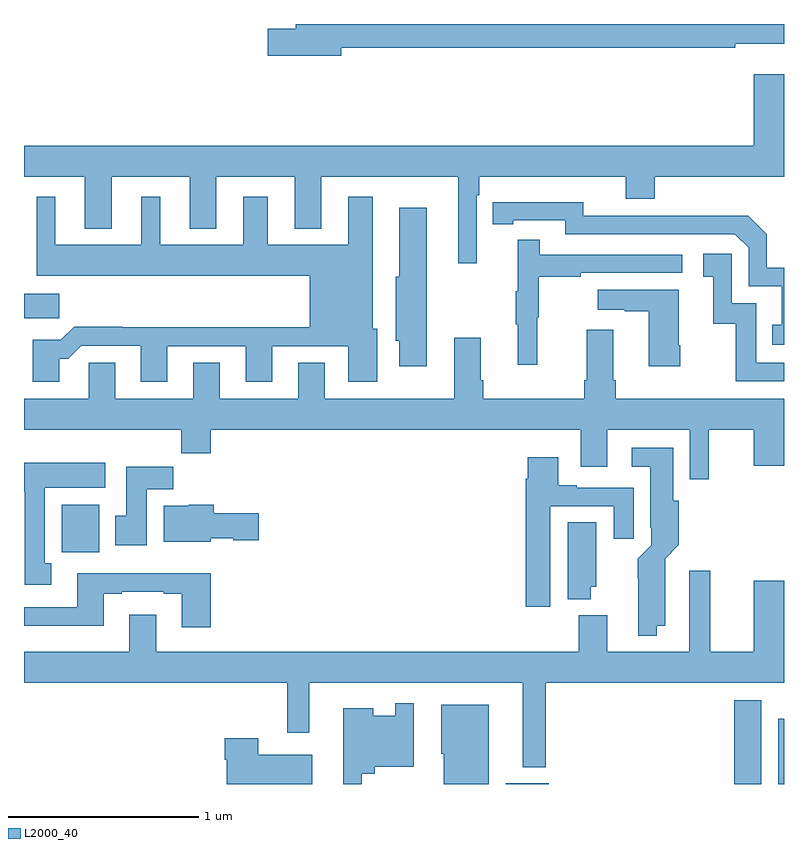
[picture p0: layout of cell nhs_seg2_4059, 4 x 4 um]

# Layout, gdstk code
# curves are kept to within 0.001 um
import gdstk
lib = gdstk.Library(unit=1e-6, precision=1e-09)
def R(c, l, rs):  # rectangles x0, y0, x1, y1
    for r in rs: c.add(gdstk.rectangle(r[:2], r[2:], *l))
def P(c, l, *ps):  # polygons
    for p in ps: c.add(gdstk.Polygon(p, *l))
L2000_40 = (2000, 40)

nhs_seg2_4059 = lib.new_cell('nhs_seg2_4059')
R(nhs_seg2_4059, L2000_40, [(331.535,617.8,331.762,617.803), (332.738,617.8,332.881,618.241), (332.97,617.8,333,618.144), (329.199,619.02,329.395,619.27), (329,620.251,329.185,620.38)])
P(nhs_seg2_4059, L2000_40, [(330.67,621.676),(332.744,621.676),(332.744,621.695),(333,621.695),(333,621.8),(330.431,621.8),(330.431,621.776),(330.282,621.776),(330.282,621.634),(330.67,621.634)],
  [(331.383,620.9),(331.397,620.9),(331.397,620.996),(332.168,620.996),(332.168,620.879),(332.321,620.879),(332.321,620.996),(333,620.996),(333,621.535),(332.84,621.535),(332.84,621.16),(329,621.16),(329,620.996),(329.321,620.996),(329.321,620.723),(329.461,620.723),(329.461,620.996),(329.873,620.996),(329.873,620.723),(330.013,620.723),(330.013,620.996),(330.425,620.996),(330.425,620.723),(330.565,620.723),(330.565,620.996),(331.286,620.996),(331.286,620.541),(331.383,620.541)],
  [(329.185,620.039),(329.234,620.039),(329.301,620.106),(329.615,620.106),(329.615,619.917),(329.755,619.917),(329.755,620.103),(330.167,620.103),(330.167,619.917),(330.307,619.917),(330.307,620.103),(330.707,620.103),(330.707,619.917),(330.859,619.917),(330.859,620.196),(330.835,620.196),(330.835,620.89),(330.707,620.89),(330.707,620.638),(330.283,620.638),(330.283,620.89),(330.155,620.89),(330.155,620.638),(329.716,620.638),(329.716,620.89),(329.618,620.89),(329.618,620.638),(329.164,620.638),(329.164,620.89),(329.066,620.89),(329.066,620.474),(330.503,620.474),(330.503,620.204),(329.519,620.204),(329.519,620.207),(329.264,620.207),(329.194,620.137),(329.045,620.137),(329.045,619.917),(329.185,619.917)],
  [(333,620.517),(332.91,620.517),(332.91,620.694),(332.812,620.792),(332.404,620.792),(332.404,620.79),(331.944,620.79),(331.944,620.863),(331.468,620.862),(331.468,620.746),(331.576,620.746),(331.576,620.766),(331.848,620.766),(331.848,620.694),(332.742,620.694),(332.814,620.622),(332.814,620.421),(332.987,620.421),(332.987,620.217),(332.938,620.217),(332.938,620.112),(333,620.112)],
  [(331.12,620.833),(330.974,620.833),(330.974,620.469),(330.956,620.469),(330.956,620.133),(330.974,620.133),(330.974,619.998),(331.12,619.998)],
  [(331.7,620.256),(331.708,620.256),(331.708,620.47),(331.931,620.47),(331.931,620.49),(332.464,620.49),(332.464,620.586),(331.715,620.586),(331.715,620.665),(331.598,620.665),(331.598,620.393),(331.587,620.393),(331.587,620.219),(331.598,620.219),(331.598,620.007),(331.7,620.007)],
  [(333,620.016),(332.853,620.016),(332.853,620.331),(332.724,620.331),(332.724,620.59),(332.574,620.59),(332.574,620.469),(332.627,620.469),(332.627,620.223),(332.745,620.223),(332.745,619.92),(333,619.92)],
  [(332.454,620.11),(332.446,620.11),(332.446,620.401),(332.019,620.401),(332.019,620.297),(332.162,620.297),(332.162,620.287),(332.288,620.287),(332.288,619.998),(332.454,619.998)],
  [(332.604,619.664),(332.84,619.664),(332.84,619.476),(333,619.476),(333,619.828),(332.114,619.828),(332.114,619.924),(332.101,619.924),(332.101,620.191),(331.961,620.191),(331.961,619.924),(331.949,619.924),(331.949,619.828),(331.418,619.828),(331.418,619.924),(331.405,619.924),(331.405,620.149),(331.265,620.149),(331.265,619.828),(330.583,619.828),(330.583,620.018),(330.443,620.018),(330.443,619.828),(330.031,619.828),(330.031,620.018),(329.891,620.018),(329.891,619.828),(329.479,619.828),(329.479,620.018),(329.34,620.018),(329.34,619.828),(329,619.828),(329,619.664),(329.827,619.664),(329.827,619.54),(329.984,619.54),(329.984,619.664),(331.931,619.664),(331.931,619.47),(332.071,619.47),(332.071,619.664),(332.505,619.664),(332.505,619.404),(332.604,619.404)],
  [(332.329,618.632),(332.374,618.632),(332.375,618.986),(332.447,619.058),(332.447,619.29),(332.416,619.29),(332.416,619.57),(332.199,619.57),(332.199,619.469),(332.297,619.469),(332.297,619.15),(332.301,619.15),(332.301,619.056),(332.231,618.986),(332.232,618.581),(332.329,618.581)],
  [(331.771,619.263),(332.105,619.263),(332.105,619.092),(332.209,619.092),(332.209,619.359),(331.909,619.359),(331.909,619.372),(331.813,619.372),(331.813,619.519),(331.652,619.519),(331.652,619.406),(331.64,619.406),(331.64,618.732),(331.771,618.732)],
  [(329.143,618.961),(329.11,618.961),(329.11,619.358),(329.428,619.358),(329.428,619.492),(329,619.492),(329,619.338),(329.003,619.338),(329.003,618.849),(329.143,618.849)],
  [(329.647,619.352),(329.786,619.352),(329.786,619.471),(329.537,619.471),(329.537,619.212),(329.48,619.212),(329.48,619.056),(329.647,619.056)],
  [(329.982,619.094),(330.102,619.094),(330.102,619.082),(330.235,619.082),(330.235,619.224),(329.999,619.224),(329.999,619.27),(329.868,619.27),(329.868,619.264),(329.735,619.264),(329.735,619.076),(329.982,619.076)],
  [(331.984,618.837),(332.011,618.837),(332.011,619.178),(331.862,619.178),(331.862,618.773),(331.984,618.773)],
  [(331.747,618.332),(333,618.332),(333,618.871),(332.84,618.871),(332.84,618.496),(332.611,618.496),(332.611,618.922),(332.501,618.922),(332.501,618.496),(332.071,618.496),(332.071,618.688),(331.919,618.688),(331.919,618.496),(329.695,618.496),(329.695,618.691),(329.555,618.691),(329.555,618.496),(329,618.496),(329,618.332),(330.385,618.332),(330.385,618.069),(330.502,618.069),(330.502,618.332),(331.625,618.332),(331.625,617.888),(331.747,617.888)],
  [(329.984,618.91),(329.279,618.91),(329.279,618.729),(329,618.729),(329,618.632),(329.419,618.632),(329.419,618.801),(329.515,618.801),(329.515,618.813),(329.735,618.813),(329.735,618.801),(329.831,618.801),(329.831,618.624),(329.984,618.624)],
  [(330.777,617.855),(330.846,617.855),(330.846,617.891),(331.05,617.891),(331.05,618.226),(330.954,618.226),(330.954,618.16),(330.838,618.16),(330.838,618.199),(330.68,618.199),(330.68,617.8),(330.777,617.8)],
  [(331.447,618.217),(331.196,618.217),(331.196,617.958),(331.208,617.958),(331.208,617.8),(331.447,617.8)],
  [(330.517,617.953),(330.234,617.953),(330.234,618.04),(330.056,618.04),(330.056,617.927),(330.068,617.927),(330.068,617.8),(330.517,617.8)])

lib.write_gds('nhs_seg2_4059.gds')
